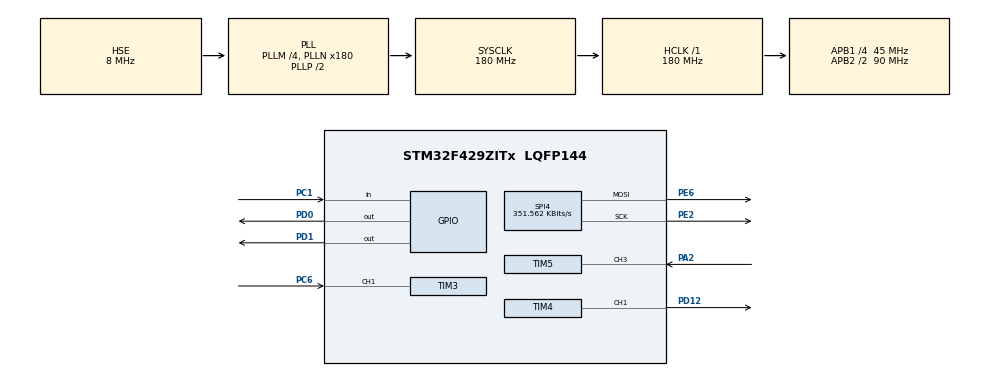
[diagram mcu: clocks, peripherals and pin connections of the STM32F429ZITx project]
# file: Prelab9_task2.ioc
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Mcu.Family=STM32F4
Mcu.Name=STM32F429ZITx
Mcu.Package=LQFP144
NVIC.PriorityGroup=NVIC_PRIORITYGROUP_4
NVIC.TIM3_IRQn=true\:0\:0\:false\:false\:true\:true\:true\:true
NVIC.TIM4_IRQn=true\:0\:0\:false\:false\:true\:true\:true\:true
NVIC.TIM5_IRQn=true\:0\:0\:false\:false\:true\:true\:true\:true
PA2.Signal=S_TIM5_CH3
PC1.Signal=GPIO_Input
PC6.Signal=S_TIM3_CH1
PD0.Signal=GPIO_Output
PD1.Signal=GPIO_Output
PD12.Signal=S_TIM4_CH1
PE2.Mode=TX_Only_Simplex_Unidirect_Master
PE2.Signal=SPI4_SCK
PE6.Mode=TX_Only_Simplex_Unidirect_Master
PE6.Signal=SPI4_MOSI
PH0/OSC_IN.Mode=HSE-External-Oscillator
PH0/OSC_IN.Signal=RCC_OSC_IN
PH1/OSC_OUT.Mode=HSE-External-Oscillator
PH1/OSC_OUT.Signal=RCC_OSC_OUT
ProjectManager.HeapSize=0x200
ProjectManager.StackSize=0x400
ProjectManager.TargetToolchain=EWARM V8.50
RCC.48MHZClocksFreq_Value=90000000
RCC.AHBFreq_Value=180000000
RCC.APB1CLKDivider=RCC_HCLK_DIV4
RCC.APB1Freq_Value=45000000
RCC.APB1TimFreq_Value=90000000
RCC.APB2CLKDivider=RCC_HCLK_DIV2
RCC.APB2Freq_Value=90000000
RCC.APB2TimFreq_Value=180000000
RCC.CortexFreq_Value=180000000
RCC.HCLKFreq_Value=180000000
RCC.HSE_VALUE=8000000
RCC.HSI_VALUE=16000000
RCC.LSE_VALUE=32768
RCC.PLLM=4
RCC.PLLN=180
RCC.PLLSourceVirtual=RCC_PLLSOURCE_HSE
RCC.SYSCLKFreq_VALUE=180000000
RCC.SYSCLKSource=RCC_SYSCLKSOURCE_PLLCLK
RCC.VCOOutputFreq_Value=360000000
SH.S_TIM3_CH1.0=TIM3_CH1,Input_Capture1_from_TI1
SH.S_TIM4_CH1.0=TIM4_CH1,PWM Generation1 CH1
SH.S_TIM5_CH3.0=TIM5_CH3,Input_Capture3_from_TI3
SPI4.BaudRatePrescaler=SPI_BAUDRATEPRESCALER_256
SPI4.CalculateBaudRate=351.562 KBits/s
SPI4.Direction=SPI_DIRECTION_2LINES
SPI4.Mode=SPI_MODE_MASTER
SPI4.VirtualType=VM_MASTER
TIM3.Channel-Input_Capture1_from_TI1=TIM_CHANNEL_1
TIM3.ICPolarity_CH1=TIM_INPUTCHANNELPOLARITY_BOTHEDGE
TIM3.Prescaler=900
TIM4.Channel-PWM\ Generation1\ CH1=TIM_CHANNEL_1
TIM4.Period=2500
TIM4.Prescaler=1800
TIM4.Pulse-PWM\ Generation1\ CH1=1
TIM5.Channel-Input_Capture3_from_TI3=TIM_CHANNEL_3
TIM5.ICPolarity_CH3=TIM_INPUTCHANNELPOLARITY_BOTHEDGE
VP_TIM3_VS_ClockSourceINT.Mode=Internal
VP_TIM4_VS_ClockSourceINT.Mode=Internal
VP_TIM5_VS_ClockSourceINT.Mode=Internal
board=custom

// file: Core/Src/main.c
/* USER CODE BEGIN Header */
/**
  ******************************************************************************
  * @file           : main.c
  * @brief          : Main program body
  ******************************************************************************
  * @attention
  *
  * Copyright (c) 2023 STMicroelectronics.
  * All rights reserved.
  *
  * This software is licensed under terms that can be found in the LICENSE file
  * in the root directory of this software component.
  * If no LICENSE file comes with this software, it is provided AS-IS.
  *
  ******************************************************************************
  */
/* USER CODE END Header */
#include "main.h"

/* USER CODE BEGIN PD */
#define Function_Set 0b00110000 //0x30
#define Display_On 0b00001100 //0x0C
#define Display_Clear 0b00000001 //0x01
#define Entry_Mode_Set 0b00000110 //0x06
/* USER CODE END PD */

SPI_HandleTypeDef hspi4;

TIM_HandleTypeDef htim3;
TIM_HandleTypeDef htim4;
TIM_HandleTypeDef htim5;

/* USER CODE BEGIN PV */
int echo_time = 0;
int echo_dist = 0;
uint8_t data [3] = "000";
uint8_t num_out [3] = "000";
int flag = 0;
/* USER CODE END PV */

void SystemClock_Config(void);
static void MX_GPIO_Init(void);
static void MX_TIM4_Init(void);
static void MX_TIM5_Init(void);
static void MX_TIM3_Init(void);
static void MX_SPI4_Init(void);
/* USER CODE BEGIN PFP */
void LCD_Init();
void LCD_SendCommand(uint8_t cmd);
void LCD_SendData(uint8_t data);
void LCD_Sel_Row_Col(uint8_t row, uint8_t col);
void LCD_sendString(char* in, int length);
void LCD_Clear();
void int_to_str(int number);
/* USER CODE END PFP */

int main(void)
{

  /* MCU Configuration--------------------------------------------------------*/

  /* Reset of all peripherals, Initializes the Flash interface and the Systick. */
  HAL_Init();

  /* Configure the system clock */
  SystemClock_Config();

  /* Initialize all configured peripherals */
  MX_GPIO_Init();
  MX_TIM4_Init();
  MX_TIM5_Init();
  MX_TIM3_Init();
  MX_SPI4_Init();
  /* USER CODE BEGIN 2 */

  HAL_SPI_Init(&hspi4);
  LCD_Init();
  HAL_TIM_IC_Start_IT(&htim3, TIM_CHANNEL_1);
  HAL_TIM_PWM_Start(&htim4, TIM_CHANNEL_1);
  /* USER CODE END 2 */

  /* Infinite loop */
  /* USER CODE BEGIN WHILE */
  while (1)
  {
    if(flag == 1){
 if (HAL_GPIO_ReadPin(GPIOC, GPIO_PIN_1) == GPIO_PIN_SET) {
      echo_dist = echo_dist / 3;
      int_to_str(echo_dist);
      for (int i = 0; i<3; i++){
        LCD_SendData(num_out[i]);}
      LCD_Sel_Row_Col(2, 0);
      char *inches = "inches";
      LCD_sendString(inches, 6);
     }
    else {
      int_to_str(echo_dist);
      for (int i = 0; i<3; i++){
        LCD_SendData(num_out[i]);}
      LCD_Sel_Row_Col(2, 0);
      char *cm = "cm";
      LCD_sendString(cm, 2);
    }
  }
    /* USER CODE END WHILE */

  }
}

void SystemClock_Config(void)
{
  RCC_OscInitTypeDef RCC_OscInitStruct = {0};
  RCC_ClkInitTypeDef RCC_ClkInitStruct = {0};

  /** Configure the main internal regulator output voltage
  */
  __HAL_RCC_PWR_CLK_ENABLE();
  __HAL_PWR_VOLTAGESCALING_CONFIG(PWR_REGULATOR_VOLTAGE_SCALE1);

  /** Initializes the RCC Oscillators according to the specified parameters
  * in the RCC_OscInitTypeDef structure.
  */
  RCC_OscInitStruct.OscillatorType = RCC_OSCILLATORTYPE_HSE;
  RCC_OscInitStruct.HSEState = RCC_HSE_ON;
  RCC_OscInitStruct.PLL.PLLState = RCC_PLL_ON;
  RCC_OscInitStruct.PLL.PLLSource = RCC_PLLSOURCE_HSE;
  RCC_OscInitStruct.PLL.PLLM = 4;
  RCC_OscInitStruct.PLL.PLLN = 180;
  RCC_OscInitStruct.PLL.PLLP = RCC_PLLP_DIV2;
  RCC_OscInitStruct.PLL.PLLQ = 4;
  if (HAL_RCC_OscConfig(&RCC_OscInitStruct) != HAL_OK)
  {
    Error_Handler();
  }

  /** Activate the Over-Drive mode
  */
  if (HAL_PWREx_EnableOverDrive() != HAL_OK)
  {
    Error_Handler();
  }

  /** Initializes the CPU, AHB and APB buses clocks
  */
  RCC_ClkInitStruct.ClockType = RCC_CLOCKTYPE_HCLK|RCC_CLOCKTYPE_SYSCLK
                              |RCC_CLOCKTYPE_PCLK1|RCC_CLOCKTYPE_PCLK2;
  RCC_ClkInitStruct.SYSCLKSource = RCC_SYSCLKSOURCE_PLLCLK;
  RCC_ClkInitStruct.AHBCLKDivider = RCC_SYSCLK_DIV1;
  RCC_ClkInitStruct.APB1CLKDivider = RCC_HCLK_DIV4;
  RCC_ClkInitStruct.APB2CLKDivider = RCC_HCLK_DIV2;

  if (HAL_RCC_ClockConfig(&RCC_ClkInitStruct, FLASH_LATENCY_5) != HAL_OK)
  {
    Error_Handler();
  }
}

static void MX_SPI4_Init(void)
{

  /* SPI4 parameter configuration*/
  hspi4.Instance = SPI4;
  hspi4.Init.Mode = SPI_MODE_MASTER;
  hspi4.Init.Direction = SPI_DIRECTION_2LINES;
  hspi4.Init.DataSize = SPI_DATASIZE_8BIT;
  hspi4.Init.CLKPolarity = SPI_POLARITY_LOW;
  hspi4.Init.CLKPhase = SPI_PHASE_1EDGE;
  hspi4.Init.NSS = SPI_NSS_SOFT;
  hspi4.Init.BaudRatePrescaler = SPI_BAUDRATEPRESCALER_256;
  hspi4.Init.FirstBit = SPI_FIRSTBIT_MSB;
  hspi4.Init.TIMode = SPI_TIMODE_DISABLE;
  hspi4.Init.CRCCalculation = SPI_CRCCALCULATION_DISABLE;
  hspi4.Init.CRCPolynomial = 10;
  if (HAL_SPI_Init(&hspi4) != HAL_OK)
  {
    Error_Handler();
  }

}

static void MX_TIM3_Init(void)
{

  TIM_ClockConfigTypeDef sClockSourceConfig = {0};
  TIM_MasterConfigTypeDef sMasterConfig = {0};
  TIM_IC_InitTypeDef sConfigIC = {0};

  htim3.Instance = TIM3;
  htim3.Init.Prescaler = 900;
  htim3.Init.CounterMode = TIM_COUNTERMODE_UP;
  htim3.Init.Period = 65535;
  htim3.Init.ClockDivision = TIM_CLOCKDIVISION_DIV1;
  htim3.Init.AutoReloadPreload = TIM_AUTORELOAD_PRELOAD_DISABLE;
  if (HAL_TIM_Base_Init(&htim3) != HAL_OK)
  {
    Error_Handler();
  }
  sClockSourceConfig.ClockSource = TIM_CLOCKSOURCE_INTERNAL;
  if (HAL_TIM_ConfigClockSource(&htim3, &sClockSourceConfig) != HAL_OK)
  {
    Error_Handler();
  }
  if (HAL_TIM_IC_Init(&htim3) != HAL_OK)
  {
    Error_Handler();
  }
  sMasterConfig.MasterOutputTrigger = TIM_TRGO_RESET;
  sMasterConfig.MasterSlaveMode = TIM_MASTERSLAVEMODE_DISABLE;
  if (HAL_TIMEx_MasterConfigSynchronization(&htim3, &sMasterConfig) != HAL_OK)
  {
    Error_Handler();
  }
  sConfigIC.ICPolarity = TIM_INPUTCHANNELPOLARITY_BOTHEDGE;
  sConfigIC.ICSelection = TIM_ICSELECTION_DIRECTTI;
  sConfigIC.ICPrescaler = TIM_ICPSC_DIV1;
  sConfigIC.ICFilter = 0;
  if (HAL_TIM_IC_ConfigChannel(&htim3, &sConfigIC, TIM_CHANNEL_1) != HAL_OK)
  {
    Error_Handler();
  }

}

static void MX_TIM4_Init(void)
{

  TIM_ClockConfigTypeDef sClockSourceConfig = {0};
  TIM_MasterConfigTypeDef sMasterConfig = {0};
  TIM_OC_InitTypeDef sConfigOC = {0};

  htim4.Instance = TIM4;
  htim4.Init.Prescaler = 1800;
  htim4.Init.CounterMode = TIM_COUNTERMODE_UP;
  htim4.Init.Period = 2500;
  htim4.Init.ClockDivision = TIM_CLOCKDIVISION_DIV1;
  htim4.Init.AutoReloadPreload = TIM_AUTORELOAD_PRELOAD_DISABLE;
  if (HAL_TIM_Base_Init(&htim4) != HAL_OK)
  {
    Error_Handler();
  }
  sClockSourceConfig.ClockSource = TIM_CLOCKSOURCE_INTERNAL;
  if (HAL_TIM_ConfigClockSource(&htim4, &sClockSourceConfig) != HAL_OK)
  {
    Error_Handler();
  }
  if (HAL_TIM_PWM_Init(&htim4) != HAL_OK)
  {
    Error_Handler();
  }
  sMasterConfig.MasterOutputTrigger = TIM_TRGO_RESET;
  sMasterConfig.MasterSlaveMode = TIM_MASTERSLAVEMODE_DISABLE;
  if (HAL_TIMEx_MasterConfigSynchronization(&htim4, &sMasterConfig) != HAL_OK)
  {
    Error_Handler();
  }
  sConfigOC.OCMode = TIM_OCMODE_PWM1;
  sConfigOC.Pulse = 1;
  sConfigOC.OCPolarity = TIM_OCPOLARITY_HIGH;
  sConfigOC.OCFastMode = TIM_OCFAST_DISABLE;
  if (HAL_TIM_PWM_ConfigChannel(&htim4, &sConfigOC, TIM_CHANNEL_1) != HAL_OK)
  {
    Error_Handler();
  }
  HAL_TIM_MspPostInit(&htim4);

}

static void MX_TIM5_Init(void)
{

  TIM_ClockConfigTypeDef sClockSourceConfig = {0};
  TIM_MasterConfigTypeDef sMasterConfig = {0};
  TIM_IC_InitTypeDef sConfigIC = {0};

  htim5.Instance = TIM5;
  htim5.Init.Prescaler = 0;
  htim5.Init.CounterMode = TIM_COUNTERMODE_UP;
  htim5.Init.Period = 4294967295;
  htim5.Init.ClockDivision = TIM_CLOCKDIVISION_DIV1;
  htim5.Init.AutoReloadPreload = TIM_AUTORELOAD_PRELOAD_DISABLE;
  if (HAL_TIM_Base_Init(&htim5) != HAL_OK)
  {
    Error_Handler();
  }
  sClockSourceConfig.ClockSource = TIM_CLOCKSOURCE_INTERNAL;
  if (HAL_TIM_ConfigClockSource(&htim5, &sClockSourceConfig) != HAL_OK)
  {
    Error_Handler();
  }
  if (HAL_TIM_IC_Init(&htim5) != HAL_OK)
  {
    Error_Handler();
  }
  sMasterConfig.MasterOutputTrigger = TIM_TRGO_RESET;
  sMasterConfig.MasterSlaveMode = TIM_MASTERSLAVEMODE_DISABLE;
  if (HAL_TIMEx_MasterConfigSynchronization(&htim5, &sMasterConfig) != HAL_OK)
  {
    Error_Handler();
  }
  sConfigIC.ICPolarity = TIM_INPUTCHANNELPOLARITY_BOTHEDGE;
  sConfigIC.ICSelection = TIM_ICSELECTION_DIRECTTI;
  sConfigIC.ICPrescaler = TIM_ICPSC_DIV1;
  sConfigIC.ICFilter = 0;
  if (HAL_TIM_IC_ConfigChannel(&htim5, &sConfigIC, TIM_CHANNEL_3) != HAL_OK)
  {
    Error_Handler();
  }

}

static void MX_GPIO_Init(void)
{
  GPIO_InitTypeDef GPIO_InitStruct = {0};

  /* GPIO Ports Clock Enable */
  __HAL_RCC_GPIOE_CLK_ENABLE();
  __HAL_RCC_GPIOH_CLK_ENABLE();
  __HAL_RCC_GPIOC_CLK_ENABLE();
  __HAL_RCC_GPIOA_CLK_ENABLE();
  __HAL_RCC_GPIOD_CLK_ENABLE();

  /*Configure GPIO pin : PC1 */
  GPIO_InitStruct.Pin = GPIO_PIN_1;
  GPIO_InitStruct.Mode = GPIO_MODE_INPUT;
  GPIO_InitStruct.Pull = GPIO_NOPULL;
  HAL_GPIO_Init(GPIOC, &GPIO_InitStruct);

}

/* USER CODE BEGIN 4 */
void LCD_SendCommand (uint8_t cmd){
	data[0] = 0xF8;
	data[1] = (cmd & 0xF0);
	data[2] = ((cmd << 4) & 0xF0);
	HAL_GPIO_WritePin(GPIOD, GPIO_PIN_0, GPIO_PIN_SET); // CS to high
        HAL_SPI_Transmit(&hspi4, data, 3, 1);
	HAL_GPIO_WritePin(GPIOD, GPIO_PIN_0, GPIO_PIN_RESET); // CS to low
}

void LCD_Init() {
    HAL_GPIO_WritePin(GPIOD, GPIO_PIN_1, GPIO_PIN_RESET); // Make sure reset is low
    HAL_Delay(100);
    HAL_GPIO_WritePin(GPIOD, GPIO_PIN_1, GPIO_PIN_SET); // Reset Low to high
    HAL_Delay(50); // greater than 40ms
    LCD_SendCommand(Function_Set);
    HAL_Delay(10); // greater than 100us
    LCD_SendCommand(Function_Set);
    HAL_Delay(10); // greater than 37us
    LCD_SendCommand(Display_On);
    HAL_Delay(10); // greater than 100us
    LCD_SendCommand(Display_Clear);
    HAL_Delay(15); // greater than 10ms
    LCD_SendCommand(Entry_Mode_Set);
    HAL_Delay(10); // greater than 100us
}

void LCD_Clear(){
    LCD_SendCommand(Display_Clear);
}

void LCD_SendData (uint8_t ascii){
	data[0] = 0xFA;
	data[1] = (ascii & 0xF0);
	data[2] = ((ascii << 4) & 0xF0);
	HAL_GPIO_WritePin(GPIOD, GPIO_PIN_0, GPIO_PIN_SET); // CS to high
        HAL_SPI_Transmit(&hspi4, data, 3, 1);
	HAL_GPIO_WritePin(GPIOD, GPIO_PIN_0, GPIO_PIN_RESET); // CS to low
}

void LCD_sendString(char* in, int length)
{
  uint8_t letter;
  for (int i; i<length; i++) //iterate through the input string
  {
    letter = in[i]; // assign the letter to the int, getting its ascii value, this may be unnecessary
    LCD_SendData(letter); // send the data to the board
  }
}

void LCD_Sel_Row_Col(uint8_t row, uint8_t col)
{
    switch(row)
	{
	case 0:
		col /= 2; //cursor is 2 spaces wide
		col |= 0x80; // 0b10000000 first row
                break;
        case 1:
                col /= 2;
                col |= 0x90; //second column starts at 0x90
                break;
        case 2:
                col /= 2;
                col |= 0x88; // third row is 0x88
                break;
        case 3:
                col /= 2;
                col |= 0x98; //fourth row is 0x98
                break;
        }
    LCD_SendCommand(col);
    HAL_Delay(5);
}

void int_to_str(int number) {
  int Hex_offset = 0x30;
  int first_dig = (number % 1000)/100;  //separate the hundreds digit
  first_dig = first_dig + Hex_offset;
  num_out[0] = first_dig;
  int second_dig = (number % 100)/10 ; //separate the tens digit
  second_dig = second_dig + Hex_offset;
  num_out[1] = second_dig;
  int third_dig = number % 10;  // separate the ones place
  third_dig = third_dig + Hex_offset;
  num_out[2] = third_dig;
}
/* USER CODE END 4 */

void Error_Handler(void)
{
  __disable_irq();
  while (1)
  {
  }
}
